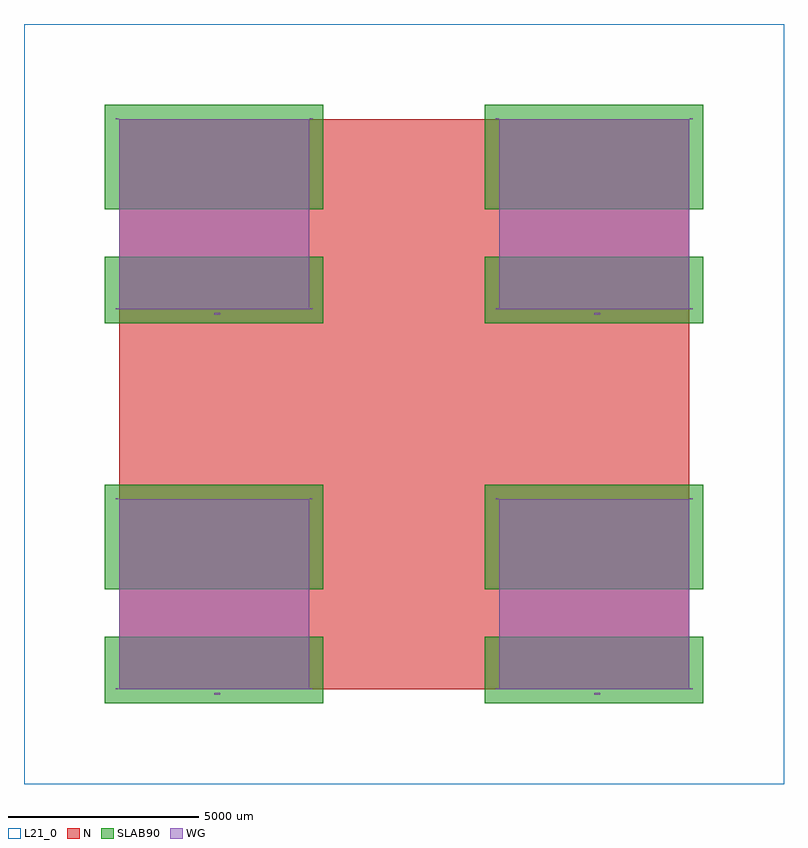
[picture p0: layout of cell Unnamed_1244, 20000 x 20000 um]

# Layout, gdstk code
import gdstk
lib = gdstk.Library(unit=1e-6, precision=1e-09)
def R(c, l, rs):  # rectangles x0, y0, x1, y1
    for r in rs: c.add(gdstk.rectangle(r[:2], r[2:], *l))
def A(c, l, x, y, w, h, nx, ny, dx, dy):  # array of equal rectangles
    R(c, l, [(x+i*dx, y+j*dy, x+i*dx+w, y+j*dy+h) for i in range(nx) for j in range(ny)])
def P(c, l, *ps):  # polygons
    for p in ps: c.add(gdstk.Polygon(p, *l))
WG = (1, 0)
SLAB90 = (3, 0)
N = (20, 0)
L21_0 = (21, 0)

rectangle_s15000_15000__ = lib.new_cell('rectangle_S15000_15000__6a6c2047')
R(rectangle_s15000_15000__, N, [(0,0,15000,15000)])

rectangle_s20000_20000__ = lib.new_cell('rectangle_S20000_20000__aa48e1ac')
R(rectangle_s20000_20000__, L21_0, [(0,0,20000,20000)])

text_tdml_3_s20_p0_0_jle = lib.new_cell('text_TDML_3_S20_P0_0_Jleft_L1_0')
P(text_tdml_3_s20_p0_0_jle, WG, [(36,0),(36,20),(40,20),(40,4),(50,4),(50,0)],
  [(66,0),(62,4),(62,6),(66,6),(68,4),(70,4),(72,6),(70,8),(70,12),(72,14),(70,16),(68,16),(66,14),(62,14),(62,16),(66,20),(72,20),(76,16),(76,12),(74,10),(76,8),(76,4),(72,0)],
  [(18,0),(18,20),(22,20),(26,14),(30,20),(34,20),(34,0),(30,0),(30,12),(26,6),(22,12),(22,0)],
  [(2,0),(2,8),(6,8),(6,4),(10,4),(12,6),(12,14),(10,16),(6,16),(6,12),(2,12),(2,20),(12,20),(16,16),(16,4),(12,0)])

unnamed_1260 = lib.new_cell('Unnamed_1260')
unnamed_1260.add(gdstk.Reference(text_tdml_3_s20_p0_0_jle, (-85,0)))
unnamed_1260.add(gdstk.Reference(text_tdml_3_s20_p0_0_jle, (5020,0)))
unnamed_1260.add(gdstk.Reference(text_tdml_3_s20_p0_0_jle, (-85,5000)))
unnamed_1260.add(gdstk.Reference(text_tdml_3_s20_p0_0_jle, (5020,5000)))

text_tdml_2_s20_p0_0_jle = lib.new_cell('text_TDML_2_S20_P0_0_Jleft_L1_0')
P(text_tdml_2_s20_p0_0_jle, WG, [(36,0),(36,20),(40,20),(40,4),(50,4),(50,0)],
  [(18,0),(18,20),(22,20),(26,14),(30,20),(34,20),(34,0),(30,0),(30,12),(26,6),(22,12),(22,0)],
  [(62,0),(62,4),(72,14),(72,16),(66,16),(66,14),(62,14),(62,18),(64,20),(74,20),(76,18),(76,12),(68,4),(76,4),(76,0)],
  [(2,0),(2,8),(6,8),(6,4),(10,4),(12,6),(12,14),(10,16),(6,16),(6,12),(2,12),(2,20),(12,20),(16,16),(16,4),(12,0)])

unnamed_1259 = lib.new_cell('Unnamed_1259')
unnamed_1259.add(gdstk.Reference(text_tdml_2_s20_p0_0_jle, (-85,0)))
unnamed_1259.add(gdstk.Reference(text_tdml_2_s20_p0_0_jle, (5020,0)))
unnamed_1259.add(gdstk.Reference(text_tdml_2_s20_p0_0_jle, (-85,5000)))
unnamed_1259.add(gdstk.Reference(text_tdml_2_s20_p0_0_jle, (5020,5000)))

text_tdml_4_s20_p0_0_jle = lib.new_cell('text_TDML_4_S20_P0_0_Jleft_L1_0')
P(text_tdml_4_s20_p0_0_jle, WG, [(36,0),(36,20),(40,20),(40,4),(50,4),(50,0)],
  [(70,0),(70,6),(62,6),(62,20),(66,20),(66,10),(70,10),(70,20),(74,20),(74,10),(76,10),(76,6),(74,6),(74,0)],
  [(18,0),(18,20),(22,20),(26,14),(30,20),(34,20),(34,0),(30,0),(30,12),(26,6),(22,12),(22,0)],
  [(2,0),(2,8),(6,8),(6,4),(10,4),(12,6),(12,14),(10,16),(6,16),(6,12),(2,12),(2,20),(12,20),(16,16),(16,4),(12,0)])

unnamed_1261 = lib.new_cell('Unnamed_1261')
unnamed_1261.add(gdstk.Reference(text_tdml_4_s20_p0_0_jle, (-85,0)))
unnamed_1261.add(gdstk.Reference(text_tdml_4_s20_p0_0_jle, (5020,0)))
unnamed_1261.add(gdstk.Reference(text_tdml_4_s20_p0_0_jle, (-85,5000)))
unnamed_1261.add(gdstk.Reference(text_tdml_4_s20_p0_0_jle, (5020,5000)))

text_tdml_1_s20_p0_0_jle = lib.new_cell('text_TDML_1_S20_P0_0_Jleft_L1_0')
P(text_tdml_1_s20_p0_0_jle, WG, [(62,0),(62,4),(64,4),(64,12),(62,12),(62,16),(66,20),(68,20),(68,4),(70,4),(70,0)],
  [(36,0),(36,20),(40,20),(40,4),(50,4),(50,0)],
  [(18,0),(18,20),(22,20),(26,14),(30,20),(34,20),(34,0),(30,0),(30,12),(26,6),(22,12),(22,0)],
  [(2,0),(2,8),(6,8),(6,4),(10,4),(12,6),(12,14),(10,16),(6,16),(6,12),(2,12),(2,20),(12,20),(16,16),(16,4),(12,0)])

unnamed_1258 = lib.new_cell('Unnamed_1258')
unnamed_1258.add(gdstk.Reference(text_tdml_1_s20_p0_0_jle, (-85,0)))
unnamed_1258.add(gdstk.Reference(text_tdml_1_s20_p0_0_jle, (5020,0)))
unnamed_1258.add(gdstk.Reference(text_tdml_1_s20_p0_0_jle, (-85,5000)))
unnamed_1258.add(gdstk.Reference(text_tdml_1_s20_p0_0_jle, (5020,5000)))

unnamed_1257 = lib.new_cell('Unnamed_1257')
unnamed_1257.add(gdstk.Reference(unnamed_1260, (0,10000)))
unnamed_1257.add(gdstk.Reference(unnamed_1259, (10000,0)))
unnamed_1257.add(gdstk.Reference(unnamed_1261, (10000,10000)))
unnamed_1257.add(gdstk.Reference(unnamed_1258, (0,0)))

unnamed_1267 = lib.new_cell('Unnamed_1267')
P(unnamed_1267, WG, [(2505,2852),(2505,2862),(2530,2887),(2530,2892),(2515,2892),(2515,2887),(2505,2887),(2505,2897),(2510,2902),(2535,2902),(2540,2897),(2540,2882),(2520,2862),(2540,2862),(2540,2852)],
  [(12505,2852),(12505,2862),(12530,2887),(12530,2892),(12515,2892),(12515,2887),(12505,2887),(12505,2897),(12510,2902),(12535,2902),(12540,2897),(12540,2882),(12520,2862),(12540,2862),(12540,2852)],
  [(2505,12852),(2505,12862),(2530,12887),(2530,12892),(2515,12892),(2515,12887),(2505,12887),(2505,12897),(2510,12902),(2535,12902),(2540,12897),(2540,12882),(2520,12862),(2540,12862),(2540,12852)],
  [(12505,12852),(12505,12862),(12530,12887),(12530,12892),(12515,12892),(12515,12887),(12505,12887),(12505,12897),(12510,12902),(12535,12902),(12540,12897),(12540,12882),(12520,12862),(12540,12862),(12540,12852)],
  [(2548.5,-150),(2551,-140),(2555,-140),(2560,-135),(2560,-115),(2555,-110),(2557.5,-100),(2560,-100),(2570,-110),(2570,-140),(2560,-150)],
  [(2593.5,-150),(2596,-140),(2600,-140),(2605,-135),(2605,-115),(2600,-110),(2602.5,-100),(2605,-100),(2615,-110),(2615,-140),(2605,-150)],
  [(2638.5,-150),(2641,-140),(2645,-140),(2650,-135),(2650,-115),(2645,-110),(2647.5,-100),(2650,-100),(2660,-110),(2660,-140),(2650,-150)],
  [(2548.5,9850),(2551,9860),(2555,9860),(2560,9865),(2560,9885),(2555,9890),(2557.5,9900),(2560,9900),(2570,9890),(2570,9860),(2560,9850)],
  [(2593.5,9850),(2596,9860),(2600,9860),(2605,9865),(2605,9885),(2600,9890),(2602.5,9900),(2605,9900),(2615,9890),(2615,9860),(2605,9850)],
  [(2638.5,9850),(2641,9860),(2645,9860),(2650,9865),(2650,9885),(2645,9890),(2647.5,9900),(2650,9900),(2660,9890),(2660,9860),(2650,9850)],
  [(12548.5,-150),(12551,-140),(12555,-140),(12560,-135),(12560,-115),(12555,-110),(12557.5,-100),(12560,-100),(12570,-110),(12570,-140),(12560,-150)],
  [(12593.5,-150),(12596,-140),(12600,-140),(12605,-135),(12605,-115),(12600,-110),(12602.5,-100),(12605,-100),(12615,-110),(12615,-140),(12605,-150)],
  [(12638.5,-150),(12641,-140),(12645,-140),(12650,-135),(12650,-115),(12645,-110),(12647.5,-100),(12650,-100),(12660,-110),(12660,-140),(12650,-150)],
  [(12548.5,9850),(12551,9860),(12555,9860),(12560,9865),(12560,9885),(12555,9890),(12557.5,9900),(12560,9900),(12570,9890),(12570,9860),(12560,9850)],
  [(12593.5,9850),(12596,9860),(12600,9860),(12605,9865),(12605,9885),(12600,9890),(12602.5,9900),(12605,9900),(12615,9890),(12615,9860),(12605,9850)],
  [(12638.5,9850),(12641,9860),(12645,9860),(12650,9865),(12650,9885),(12645,9890),(12647.5,9900),(12650,9900),(12660,9890),(12660,9860),(12650,9850)],
  [(2563.5,2852),(2566,2862),(2570,2862),(2575,2867),(2575,2887),(2570,2892),(2572.5,2902),(2575,2902),(2585,2892),(2585,2862),(2575,2852)],
  [(2608.5,2852),(2611,2862),(2615,2862),(2620,2867),(2620,2887),(2615,2892),(2617.5,2902),(2620,2902),(2630,2892),(2630,2862),(2620,2852)],
  [(2653.5,2852),(2656,2862),(2660,2862),(2665,2867),(2665,2887),(2660,2892),(2662.5,2902),(2665,2902),(2675,2892),(2675,2862),(2665,2852)],
  [(2563.5,12852),(2566,12862),(2570,12862),(2575,12867),(2575,12887),(2570,12892),(2572.5,12902),(2575,12902),(2585,12892),(2585,12862),(2575,12852)],
  [(2608.5,12852),(2611,12862),(2615,12862),(2620,12867),(2620,12887),(2615,12892),(2617.5,12902),(2620,12902),(2630,12892),(2630,12862),(2620,12852)],
  [(2653.5,12852),(2656,12862),(2660,12862),(2665,12867),(2665,12887),(2660,12892),(2662.5,12902),(2665,12902),(2675,12892),(2675,12862),(2665,12852)],
  [(12563.5,2852),(12566,2862),(12570,2862),(12575,2867),(12575,2887),(12570,2892),(12572.5,2902),(12575,2902),(12585,2892),(12585,2862),(12575,2852)],
  [(12608.5,2852),(12611,2862),(12615,2862),(12620,2867),(12620,2887),(12615,2892),(12617.5,2902),(12620,2902),(12630,2892),(12630,2862),(12620,2852)],
  [(12653.5,2852),(12656,2862),(12660,2862),(12665,2867),(12665,2887),(12660,2892),(12662.5,2902),(12665,2902),(12675,2892),(12675,2862),(12665,2852)],
  [(12563.5,12852),(12566,12862),(12570,12862),(12575,12867),(12575,12887),(12570,12892),(12572.5,12902),(12575,12902),(12585,12892),(12585,12862),(12575,12852)],
  [(12608.5,12852),(12611,12862),(12615,12862),(12620,12867),(12620,12887),(12615,12892),(12617.5,12902),(12620,12902),(12630,12892),(12630,12862),(12620,12852)],
  [(12653.5,12852),(12656,12862),(12660,12862),(12665,12867),(12665,12887),(12660,12892),(12662.5,12902),(12665,12902),(12675,12892),(12675,12862),(12665,12852)],
  [(2540,-150),(2530,-140),(2530,-110),(2540,-100),(2551.5,-100),(2549,-110),(2545,-110),(2540,-115),(2540,-135),(2545,-140),(2542.5,-150)],
  [(2585,-150),(2575,-140),(2575,-110),(2585,-100),(2596.5,-100),(2594,-110),(2590,-110),(2585,-115),(2585,-135),(2590,-140),(2587.5,-150)],
  [(2630,-150),(2620,-140),(2620,-110),(2630,-100),(2641.5,-100),(2639,-110),(2635,-110),(2630,-115),(2630,-135),(2635,-140),(2632.5,-150)],
  [(2540,9850),(2530,9860),(2530,9890),(2540,9900),(2551.5,9900),(2549,9890),(2545,9890),(2540,9885),(2540,9865),(2545,9860),(2542.5,9850)],
  [(2585,9850),(2575,9860),(2575,9890),(2585,9900),(2596.5,9900),(2594,9890),(2590,9890),(2585,9885),(2585,9865),(2590,9860),(2587.5,9850)],
  [(2630,9850),(2620,9860),(2620,9890),(2630,9900),(2641.5,9900),(2639,9890),(2635,9890),(2630,9885),(2630,9865),(2635,9860),(2632.5,9850)],
  [(12540,-150),(12530,-140),(12530,-110),(12540,-100),(12551.5,-100),(12549,-110),(12545,-110),(12540,-115),(12540,-135),(12545,-140),(12542.5,-150)],
  [(12585,-150),(12575,-140),(12575,-110),(12585,-100),(12596.5,-100),(12594,-110),(12590,-110),(12585,-115),(12585,-135),(12590,-140),(12587.5,-150)],
  [(12630,-150),(12620,-140),(12620,-110),(12630,-100),(12641.5,-100),(12639,-110),(12635,-110),(12630,-115),(12630,-135),(12635,-140),(12632.5,-150)],
  [(12540,9850),(12530,9860),(12530,9890),(12540,9900),(12551.5,9900),(12549,9890),(12545,9890),(12540,9885),(12540,9865),(12545,9860),(12542.5,9850)],
  [(12585,9850),(12575,9860),(12575,9890),(12585,9900),(12596.5,9900),(12594,9890),(12590,9890),(12585,9885),(12585,9865),(12590,9860),(12587.5,9850)],
  [(12630,9850),(12620,9860),(12620,9890),(12630,9900),(12641.5,9900),(12639,9890),(12635,9890),(12630,9885),(12630,9865),(12635,9860),(12632.5,9850)],
  [(2555,2852),(2545,2862),(2545,2892),(2555,2902),(2566.5,2902),(2564,2892),(2560,2892),(2555,2887),(2555,2867),(2560,2862),(2557.5,2852)],
  [(2600,2852),(2590,2862),(2590,2892),(2600,2902),(2611.5,2902),(2609,2892),(2605,2892),(2600,2887),(2600,2867),(2605,2862),(2602.5,2852)],
  [(2645,2852),(2635,2862),(2635,2892),(2645,2902),(2656.5,2902),(2654,2892),(2650,2892),(2645,2887),(2645,2867),(2650,2862),(2647.5,2852)],
  [(2555,12852),(2545,12862),(2545,12892),(2555,12902),(2566.5,12902),(2564,12892),(2560,12892),(2555,12887),(2555,12867),(2560,12862),(2557.5,12852)],
  [(2600,12852),(2590,12862),(2590,12892),(2600,12902),(2611.5,12902),(2609,12892),(2605,12892),(2600,12887),(2600,12867),(2605,12862),(2602.5,12852)],
  [(2645,12852),(2635,12862),(2635,12892),(2645,12902),(2656.5,12902),(2654,12892),(2650,12892),(2645,12887),(2645,12867),(2650,12862),(2647.5,12852)],
  [(12555,2852),(12545,2862),(12545,2892),(12555,2902),(12566.5,2902),(12564,2892),(12560,2892),(12555,2887),(12555,2867),(12560,2862),(12557.5,2852)],
  [(12600,2852),(12590,2862),(12590,2892),(12600,2902),(12611.5,2902),(12609,2892),(12605,2892),(12600,2887),(12600,2867),(12605,2862),(12602.5,2852)],
  [(12645,2852),(12635,2862),(12635,2892),(12645,2902),(12656.5,2902),(12654,2892),(12650,2892),(12645,2887),(12645,2867),(12650,2862),(12647.5,2852)],
  [(12555,12852),(12545,12862),(12545,12892),(12555,12902),(12566.5,12902),(12564,12892),(12560,12892),(12555,12887),(12555,12867),(12560,12862),(12557.5,12852)],
  [(12600,12852),(12590,12862),(12590,12892),(12600,12902),(12611.5,12902),(12609,12892),(12605,12892),(12600,12887),(12600,12867),(12605,12862),(12602.5,12852)],
  [(12645,12852),(12635,12862),(12635,12892),(12645,12902),(12656.5,12902),(12654,12892),(12650,12892),(12645,12887),(12645,12867),(12650,12862),(12647.5,12852)],
  [(2505,-150),(2505,-140),(2510,-140),(2510,-120),(2505,-120),(2505,-110),(2515,-100),(2520,-100),(2520,-140),(2525,-140),(2525,-150)],
  [(12505,-150),(12505,-140),(12510,-140),(12510,-120),(12505,-120),(12505,-110),(12515,-100),(12520,-100),(12520,-140),(12525,-140),(12525,-150)],
  [(2505,9850),(2505,9860),(2510,9860),(2510,9880),(2505,9880),(2505,9890),(2515,9900),(2520,9900),(2520,9860),(2525,9860),(2525,9850)],
  [(12505,9850),(12505,9860),(12510,9860),(12510,9880),(12505,9880),(12505,9890),(12515,9900),(12520,9900),(12520,9860),(12525,9860),(12525,9850)])

unnamed_1266 = lib.new_cell('Unnamed_1266')

unnamed_1264 = lib.new_cell('Unnamed_1264')
P(unnamed_1264, WG, [(0,0),(0,5000),(330,5000),(330,3000),(2332,3000),(2332,5000),(2662,5000),(2662,3000),(4664,3000),(4664,5000),(5000,5000),(5000,0),(4506,0),(4506,1000),(3504,1000),(3504,0),(3004,0),(3004,1000),(2002,1000),(2002,0),(1502,0),(1502,1000),(500,1000),(500,0)],
  [(10000,0),(10000,5000),(10330,5000),(10330,3000),(12332,3000),(12332,5000),(12662,5000),(12662,3000),(14664,3000),(14664,5000),(15000,5000),(15000,0),(14506,0),(14506,1000),(13504,1000),(13504,0),(13004,0),(13004,1000),(12002,1000),(12002,0),(11502,0),(11502,1000),(10500,1000),(10500,0)],
  [(0,10000),(0,15000),(330,15000),(330,13000),(2332,13000),(2332,15000),(2662,15000),(2662,13000),(4664,13000),(4664,15000),(5000,15000),(5000,10000),(4506,10000),(4506,11000),(3504,11000),(3504,10000),(3004,10000),(3004,11000),(2002,11000),(2002,10000),(1502,10000),(1502,11000),(500,11000),(500,10000)],
  [(10000,10000),(10000,15000),(10330,15000),(10330,13000),(12332,13000),(12332,15000),(12662,15000),(12662,13000),(14664,13000),(14664,15000),(15000,15000),(15000,10000),(14506,10000),(14506,11000),(13504,11000),(13504,10000),(13004,10000),(13004,11000),(12002,11000),(12002,10000),(11502,10000),(11502,11000),(10500,11000),(10500,10000)])

rectangle_s5743p44_2743_ = lib.new_cell('rectangle_S5743p44_2743_31799ffc')
R(rectangle_s5743p44_2743_, SLAB90, [(0,0,5743.44,2743.44)])

rectangle_s5743p44_1743_ = lib.new_cell('rectangle_S5743p44_1743_8d4c1162')
R(rectangle_s5743p44_1743_, SLAB90, [(0,0,5743.44,1743.44)])

unnamed_1255 = lib.new_cell('Unnamed_1255')
unnamed_1255.add(gdstk.Reference(rectangle_s5743p44_2743_, (0,3000)))
unnamed_1255.add(gdstk.Reference(rectangle_s5743p44_1743_, (0,0)))

unnamed_1254 = lib.new_cell('Unnamed_1254')
unnamed_1254.add(gdstk.Reference(rectangle_s5743p44_2743_, (0,3000)))
unnamed_1254.add(gdstk.Reference(rectangle_s5743p44_1743_, (0,0)))

unnamed_1253 = lib.new_cell('Unnamed_1253')
unnamed_1253.add(gdstk.Reference(rectangle_s5743p44_2743_, (0,3000)))
unnamed_1253.add(gdstk.Reference(rectangle_s5743p44_1743_, (0,0)))

unnamed_1252 = lib.new_cell('Unnamed_1252')
unnamed_1252.add(gdstk.Reference(rectangle_s5743p44_2743_, (0,3000)))
unnamed_1252.add(gdstk.Reference(rectangle_s5743p44_1743_, (0,0)))

unnamed_1251 = lib.new_cell('Unnamed_1251')
unnamed_1251.add(gdstk.Reference(unnamed_1255, (9628.28,9628.28)))
unnamed_1251.add(gdstk.Reference(unnamed_1254, (-371.72,9628.28)))
unnamed_1251.add(gdstk.Reference(unnamed_1253, (9628.28,-371.72)))
unnamed_1251.add(gdstk.Reference(unnamed_1252, (-371.72,-371.72)))

unnamed_1265 = lib.new_cell('Unnamed_1265')
A(unnamed_1265, WG, 502, 0, 48, 48, 20, 20, 50, 50)
A(unnamed_1265, WG, 2004, 0, 48, 48, 20, 20, 50, 50)
A(unnamed_1265, WG, 3506, 0, 48, 48, 20, 20, 50, 50)
A(unnamed_1265, WG, 10502, 0, 48, 48, 20, 20, 50, 50)
A(unnamed_1265, WG, 12004, 0, 48, 48, 20, 20, 50, 50)
A(unnamed_1265, WG, 13506, 0, 48, 48, 20, 20, 50, 50)
A(unnamed_1265, WG, 332, 3002, 48, 48, 40, 40, 50, 50)
A(unnamed_1265, WG, 2664, 3002, 48, 48, 40, 40, 50, 50)
A(unnamed_1265, WG, 10332, 3002, 48, 48, 40, 40, 50, 50)
A(unnamed_1265, WG, 12664, 3002, 48, 48, 40, 40, 50, 50)
A(unnamed_1265, WG, 502, 10000, 48, 48, 20, 20, 50, 50)
A(unnamed_1265, WG, 2004, 10000, 48, 48, 20, 20, 50, 50)
A(unnamed_1265, WG, 3506, 10000, 48, 48, 20, 20, 50, 50)
A(unnamed_1265, WG, 10502, 10000, 48, 48, 20, 20, 50, 50)
A(unnamed_1265, WG, 12004, 10000, 48, 48, 20, 20, 50, 50)
A(unnamed_1265, WG, 13506, 10000, 48, 48, 20, 20, 50, 50)
A(unnamed_1265, WG, 332, 13002, 48, 48, 40, 40, 50, 50)
A(unnamed_1265, WG, 2664, 13002, 48, 48, 40, 40, 50, 50)
A(unnamed_1265, WG, 10332, 13002, 48, 48, 40, 40, 50, 50)
A(unnamed_1265, WG, 12664, 13002, 48, 48, 40, 40, 50, 50)

unnamed_1244 = lib.new_cell('Unnamed_1244')
unnamed_1244.add(gdstk.Reference(rectangle_s15000_15000__, (0,0)))
unnamed_1244.add(gdstk.Reference(rectangle_s20000_20000__, (-2500,-2500)))
unnamed_1244.add(gdstk.Reference(unnamed_1257, (0,0)))
unnamed_1244.add(gdstk.Reference(unnamed_1267, (0,0)))
unnamed_1244.add(gdstk.Reference(unnamed_1266, (0,0)))
unnamed_1244.add(gdstk.Reference(unnamed_1264, (0,0)))
unnamed_1244.add(gdstk.Reference(unnamed_1251, (0,0)))
unnamed_1244.add(gdstk.Reference(unnamed_1265, (0,0)))

lib.write_gds('Unnamed_1244.gds')
